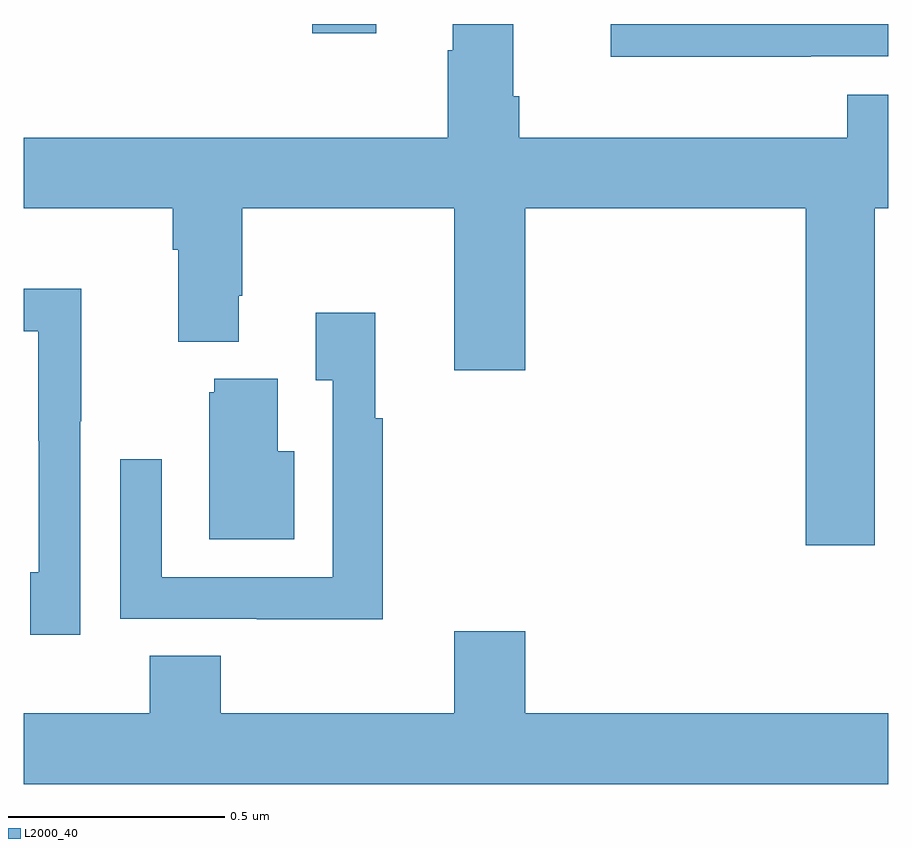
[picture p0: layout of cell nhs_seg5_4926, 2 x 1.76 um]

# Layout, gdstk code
import gdstk
lib = gdstk.Library(unit=1e-6, precision=1e-09)
def R(c, l, rs):  # rectangles x0, y0, x1, y1
    for r in rs: c.add(gdstk.rectangle(r[:2], r[2:], *l))
def P(c, l, *ps):  # polygons
    for p in ps: c.add(gdstk.Polygon(p, *l))
L2000_40 = (2000, 40)

nhs_seg5_4926 = lib.new_cell('nhs_seg5_4926')
R(nhs_seg5_4926, L2000_40, [(176.667,911.778,176.815,911.799)])
P(nhs_seg5_4926, L2000_40, [(177.969,911.372),(178,911.372),(178,911.635),(177.905,911.635),(177.905,911.536),(177.146,911.536),(177.146,911.632),(177.133,911.632),(177.133,911.799),(176.993,911.799),(176.993,911.738),(176.981,911.738),(176.981,911.536),(176,911.536),(176,911.372),(176.345,911.372),(176.345,911.276),(176.357,911.276),(176.357,911.063),(176.497,911.063),(176.497,911.17),(176.505,911.17),(176.505,911.372),(176.996,911.372),(176.996,910.998),(177.16,910.998),(177.16,911.372),(177.809,911.372),(177.809,910.593),(177.969,910.593)],
  [(177.821,911.724),(178,911.724),(178,911.799),(177.358,911.799),(177.358,911.723),(177.821,911.723)],
  [(176.13,910.879),(176.133,910.879),(176.133,911.186),(176,911.186),(176,911.088),(176.033,911.088),(176.033,910.834),(176.034,910.834),(176.034,910.53),(176.015,910.53),(176.015,910.386),(176.13,910.386)],
  [(176.831,910.886),(176.813,910.886),(176.813,911.131),(176.675,911.131),(176.675,910.975),(176.715,910.975),(176.715,910.518),(176.319,910.518),(176.319,910.792),(176.223,910.792),(176.223,910.422),(176.539,910.422),(176.539,910.421),(176.831,910.421)],
  [(176.626,910.81),(176.587,910.81),(176.587,910.978),(176.441,910.978),(176.441,910.947),(176.429,910.947),(176.429,910.607),(176.626,910.607)],
  [(176.996,910.393),(176.996,910.204),(176.456,910.204),(176.456,910.337),(176.291,910.337),(176.291,910.204),(176,910.204),(176,910.04),(178,910.04),(178,910.204),(177.16,910.204),(177.16,910.393)])

lib.write_gds('nhs_seg5_4926.gds')
